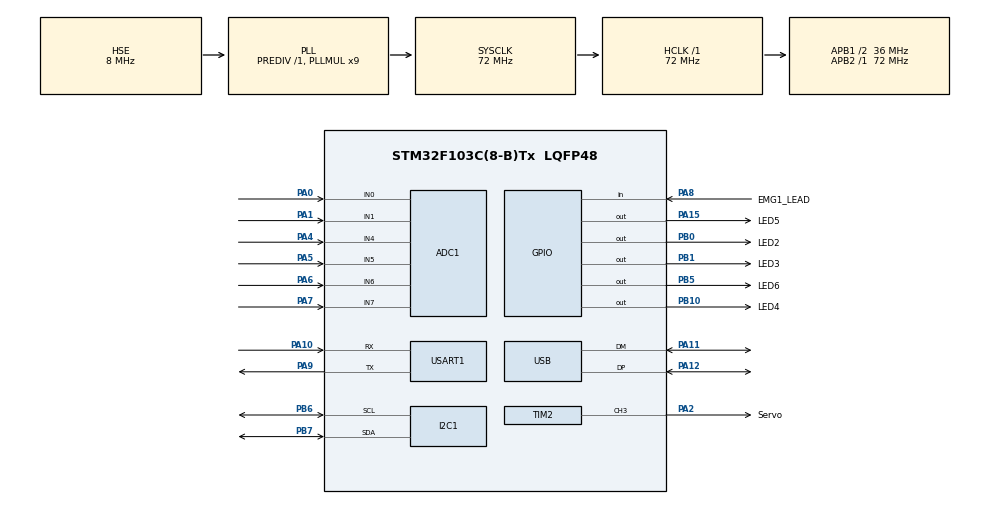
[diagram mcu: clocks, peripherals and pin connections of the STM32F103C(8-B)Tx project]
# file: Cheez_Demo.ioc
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ADC1.Channel-10\#ChannelRegularConversion=ADC_CHANNEL_7
ADC1.Channel-6\#ChannelRegularConversion=ADC_CHANNEL_1
ADC1.Channel-7\#ChannelRegularConversion=ADC_CHANNEL_4
ADC1.Channel-8\#ChannelRegularConversion=ADC_CHANNEL_5
ADC1.Channel-9\#ChannelRegularConversion=ADC_CHANNEL_6
ADC1.ContinuousConvMode=ENABLE
ADC1.ExternalTrigConv=ADC_EXTERNALTRIGCONV_T3_TRGO
ADC1.NbrOfConversion=6
ADC1.NbrOfConversionFlag=1
ADC1.Rank-10\#ChannelRegularConversion=6
ADC1.Rank-6\#ChannelRegularConversion=2
ADC1.Rank-7\#ChannelRegularConversion=3
ADC1.Rank-8\#ChannelRegularConversion=4
ADC1.Rank-9\#ChannelRegularConversion=5
ADC1.SamplingTime-10\#ChannelRegularConversion=ADC_SAMPLETIME_55CYCLES_5
ADC1.SamplingTime-6\#ChannelRegularConversion=ADC_SAMPLETIME_55CYCLES_5
ADC1.SamplingTime-7\#ChannelRegularConversion=ADC_SAMPLETIME_55CYCLES_5
ADC1.SamplingTime-8\#ChannelRegularConversion=ADC_SAMPLETIME_55CYCLES_5
ADC1.SamplingTime-9\#ChannelRegularConversion=ADC_SAMPLETIME_55CYCLES_5
ADC1.master=1
Dma.ADC1.0.Direction=DMA_PERIPH_TO_MEMORY
Dma.ADC1.0.Instance=DMA1_Channel1
Dma.ADC1.0.MemDataAlignment=DMA_MDATAALIGN_HALFWORD
Dma.ADC1.0.MemInc=DMA_MINC_ENABLE
Dma.ADC1.0.Mode=DMA_CIRCULAR
Dma.ADC1.0.PeriphDataAlignment=DMA_PDATAALIGN_HALFWORD
Dma.ADC1.0.PeriphInc=DMA_PINC_DISABLE
Dma.ADC1.0.Priority=DMA_PRIORITY_MEDIUM
Dma.Request0=ADC1
Mcu.Family=STM32F1
Mcu.Name=STM32F103C(8-B)Tx
Mcu.Package=LQFP48
NVIC.DMA1_Channel1_IRQn=true\:0\:0\:false\:false\:true\:false\:true\:true
NVIC.PriorityGroup=NVIC_PRIORITYGROUP_4
NVIC.TIM3_IRQn=true\:0\:0\:false\:false\:true\:true\:true\:true
NVIC.TIM4_IRQn=true\:0\:0\:false\:false\:true\:true\:true\:true
NVIC.USB_LP_CAN1_RX0_IRQn=true\:0\:0\:false\:false\:true\:false\:true\:true
PA0-WKUP.GPIO_Mode=GPIO_MODE_ANALOG
PA0-WKUP.Signal=ADCx_IN0
PA1.GPIO_Mode=GPIO_MODE_ANALOG
PA1.Signal=ADCx_IN1
PA10.Mode=Asynchronous
PA10.Signal=USART1_RX
PA11.Mode=Device
PA11.Signal=USB_DM
PA12.Mode=Device
PA12.Signal=USB_DP
PA13.Mode=Serial_Wire
PA13.Signal=SYS_JTMS-SWDIO
PA14.Mode=Serial_Wire
PA14.Signal=SYS_JTCK-SWCLK
PA15.GPIO_Label=LED5
PA15.PinState=GPIO_PIN_SET
PA15.Signal=GPIO_Output
PA2.GPIO_Label=Servo
PA2.Signal=S_TIM2_CH3
PA4.GPIO_Mode=GPIO_MODE_ANALOG
PA4.Signal=ADCx_IN4
PA5.GPIO_Mode=GPIO_MODE_ANALOG
PA5.Signal=ADCx_IN5
PA6.GPIO_Mode=GPIO_MODE_ANALOG
PA6.Signal=ADCx_IN6
PA7.GPIO_Mode=GPIO_MODE_ANALOG
PA7.Signal=ADCx_IN7
PA8.GPIO_Label=EMG1_LEAD
PA8.Signal=GPIO_Input
PA9.Mode=Asynchronous
PA9.Signal=USART1_TX
PB0.GPIO_Label=LED2
PB0.PinState=GPIO_PIN_SET
PB0.Signal=GPIO_Output
PB1.GPIO_Label=LED3
PB1.PinState=GPIO_PIN_SET
PB1.Signal=GPIO_Output
PB10.GPIO_Label=LED4
PB10.PinState=GPIO_PIN_SET
PB10.Signal=GPIO_Output
PB5.GPIO_Label=LED6
PB5.PinState=GPIO_PIN_SET
PB5.Signal=GPIO_Output
PB6.Mode=I2C
PB6.Signal=I2C1_SCL
PB7.Mode=I2C
PB7.Signal=I2C1_SDA
PD0-OSC_IN.Mode=HSE-External-Oscillator
PD0-OSC_IN.Signal=RCC_OSC_IN
PD1-OSC_OUT.Mode=HSE-External-Oscillator
PD1-OSC_OUT.Signal=RCC_OSC_OUT
ProjectManager.HeapSize=0x200
ProjectManager.StackSize=0x400
ProjectManager.TargetToolchain=MDK-ARM V5.32
RCC.ADCPresc=RCC_ADCPCLK2_DIV6
RCC.AHBFreq_Value=72000000
RCC.APB1CLKDivider=RCC_HCLK_DIV2
RCC.APB1Freq_Value=36000000
RCC.APB1TimFreq_Value=72000000
RCC.APB2Freq_Value=72000000
RCC.APB2TimFreq_Value=72000000
RCC.HCLKFreq_Value=72000000
RCC.PLLMUL=RCC_PLL_MUL9
RCC.SYSCLKFreq_VALUE=72000000
RCC.SYSCLKSource=RCC_SYSCLKSOURCE_PLLCLK
RCC.USBFreq_Value=48000000
RCC.USBPrescaler=RCC_USBCLKSOURCE_PLL_DIV1_5
SH.ADCx_IN0.0=ADC1_IN0,IN0
SH.ADCx_IN1.0=ADC1_IN1,IN1
SH.ADCx_IN4.0=ADC1_IN4,IN4
SH.ADCx_IN5.0=ADC1_IN5,IN5
SH.ADCx_IN6.0=ADC1_IN6,IN6
SH.ADCx_IN7.0=ADC1_IN7,IN7
SH.S_TIM2_CH3.0=TIM2_CH3,PWM Generation3 CH3
TIM2.AutoReloadPreload=TIM_AUTORELOAD_PRELOAD_ENABLE
TIM2.Channel-PWM\ Generation3\ CH3=TIM_CHANNEL_3
TIM2.OCPolarity_3=TIM_OCPOLARITY_HIGH
TIM2.Period=1999-1
TIM2.Prescaler=720-1
TIM2.TIM_MasterOutputTrigger=TIM_TRGO_RESET
TIM3.Period=144-1
TIM3.Prescaler=1000-1
TIM3.TIM_MasterOutputTrigger=TIM_TRGO_UPDATE
TIM4.Period=144-1
TIM4.Prescaler=1000-1
USART1.VirtualMode=VM_ASYNC
USB_DEVICE.CLASS_NAME_FS=CDC
USB_DEVICE.VirtualMode=Cdc
USB_DEVICE.VirtualModeFS=Cdc_FS
VP_TIM2_VS_ClockSourceINT.Mode=Internal
VP_TIM3_VS_ClockSourceINT.Mode=Internal
VP_TIM4_VS_ClockSourceINT.Mode=Internal
VP_USB_DEVICE_VS_USB_DEVICE_CDC_FS.Mode=CDC_FS
board=custom

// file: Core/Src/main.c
/* USER CODE BEGIN Header */
/**
  ******************************************************************************
  * @file           : main.c
  * @brief          : Main program body
  ******************************************************************************
  * @attention
  *
  * Copyright (c) 2024 STMicroelectronics.
  * All rights reserved.
  *
  * This software is licensed under terms that can be found in the LICENSE file
  * in the root directory of this software component.
  * If no LICENSE file comes with this software, it is provided AS-IS.
  *
  ******************************************************************************
  */
/* USER CODE END Header */
#include "main.h"
#include "adc.h"
#include "dma.h"
#include "i2c.h"
#include "tim.h"
#include "usart.h"
#include "usb_device.h"
#include "gpio.h"

/* USER CODE BEGIN Includes */
#include "math.h"
#include "debug.h"
#include "usbd_cdc_if.h"

/* USER CODE END Includes */

/* USER CODE BEGIN PD */

#define ServoH 50 // 阈值
#define ServoL 2

/* USER CODE END PD */

/* USER CODE BEGIN PV */

#define ADC_CHANNELS 6
uint32_t dmaBuffer[ADC_CHANNELS];

uint32_t lastServoMove;
uint8_t tickFlag=0,level;
int EmgEnvelop,lastEmgEnvelop, filterEmgEnvelop;
/* USER CODE END PV */

void SystemClock_Config(void);
/* USER CODE BEGIN PFP */

float Filter(float input);
int getEnvelop(int abs_emg);
int emgLevel(int emgval) ;
void SetServoAngle(int16_t angle);
/* USER CODE END PFP */

int main(void)
{

  /* MCU Configuration--------------------------------------------------------*/

  /* Reset of all peripherals, Initializes the Flash interface and the Systick. */
  HAL_Init();

  /* Configure the system clock */
  SystemClock_Config();

  /* Initialize all configured peripherals */
  MX_GPIO_Init();
  MX_DMA_Init();
  MX_ADC1_Init();
  MX_TIM3_Init();
  MX_I2C1_Init();
  MX_TIM2_Init();
  MX_TIM4_Init();
  MX_USART1_UART_Init();
  MX_USB_DEVICE_Init();
  /* USER CODE BEGIN 2 */

	printf("HelloCheez\r\n");
	HAL_ADCEx_Calibration_Start(&hadc1);
  HAL_ADC_Start_DMA(&hadc1, dmaBuffer, ADC_CHANNELS);
  HAL_TIM_Base_Start_IT(&htim3);
	HAL_TIM_Base_Start_IT(&htim4);

	HAL_TIM_PWM_Start(&htim2,TIM_CHANNEL_3);
  /* USER CODE END 2 */

  /* Infinite loop */
  /* USER CODE BEGIN WHILE */
  while (1)
  {
		 if(tickFlag)
		 {
			tickFlag=0;

			uint16_t A0 = dmaBuffer[0];
			float EMGSignal =	Filter((float)A0);
			EmgEnvelop = getEnvelop(fabs(EMGSignal));

			char dat[60];
			uint32_t	len = sprintf(dat, "%d,%d,%d\r\n",A0,(int16_t)EMGSignal,EmgEnvelop);
			CDC_Transmit_FS((uint8_t*)dat,len);												// 使用USB虚拟串口
			HAL_UART_Transmit(&huart1, (uint8_t*)dat,len, 1000);			// 使用CH340串口

		 }

		  if (HAL_GetTick() - lastServoMove > 20)
			{
				lastServoMove = HAL_GetTick();
				if(HAL_GPIO_ReadPin(EMG1_LEAD_GPIO_Port,EMG1_LEAD_Pin))
				{
					filterEmgEnvelop = 0.8 * lastEmgEnvelop + 0.2 * EmgEnvelop;
					lastEmgEnvelop = filterEmgEnvelop;
					SetServoAngle(filterEmgEnvelop);
				}
			}

    /* USER CODE END WHILE */

  }
}

void SystemClock_Config(void)
{
  RCC_OscInitTypeDef RCC_OscInitStruct = {0};
  RCC_ClkInitTypeDef RCC_ClkInitStruct = {0};
  RCC_PeriphCLKInitTypeDef PeriphClkInit = {0};

  /** Initializes the RCC Oscillators according to the specified parameters
  * in the RCC_OscInitTypeDef structure.
  */
  RCC_OscInitStruct.OscillatorType = RCC_OSCILLATORTYPE_HSE;
  RCC_OscInitStruct.HSEState = RCC_HSE_ON;
  RCC_OscInitStruct.HSEPredivValue = RCC_HSE_PREDIV_DIV1;
  RCC_OscInitStruct.HSIState = RCC_HSI_ON;
  RCC_OscInitStruct.PLL.PLLState = RCC_PLL_ON;
  RCC_OscInitStruct.PLL.PLLSource = RCC_PLLSOURCE_HSE;
  RCC_OscInitStruct.PLL.PLLMUL = RCC_PLL_MUL9;
  if (HAL_RCC_OscConfig(&RCC_OscInitStruct) != HAL_OK)
  {
    Error_Handler();
  }

  /** Initializes the CPU, AHB and APB buses clocks
  */
  RCC_ClkInitStruct.ClockType = RCC_CLOCKTYPE_HCLK|RCC_CLOCKTYPE_SYSCLK
                              |RCC_CLOCKTYPE_PCLK1|RCC_CLOCKTYPE_PCLK2;
  RCC_ClkInitStruct.SYSCLKSource = RCC_SYSCLKSOURCE_PLLCLK;
  RCC_ClkInitStruct.AHBCLKDivider = RCC_SYSCLK_DIV1;
  RCC_ClkInitStruct.APB1CLKDivider = RCC_HCLK_DIV2;
  RCC_ClkInitStruct.APB2CLKDivider = RCC_HCLK_DIV1;

  if (HAL_RCC_ClockConfig(&RCC_ClkInitStruct, FLASH_LATENCY_2) != HAL_OK)
  {
    Error_Handler();
  }
  PeriphClkInit.PeriphClockSelection = RCC_PERIPHCLK_ADC|RCC_PERIPHCLK_USB;
  PeriphClkInit.AdcClockSelection = RCC_ADCPCLK2_DIV6;
  PeriphClkInit.UsbClockSelection = RCC_USBCLKSOURCE_PLL_DIV1_5;
  if (HAL_RCCEx_PeriphCLKConfig(&PeriphClkInit) != HAL_OK)
  {
    Error_Handler();
  }
}

/* USER CODE BEGIN 4 */
void HAL_TIM_PeriodElapsedCallback(TIM_HandleTypeDef *htim)
{
  if (htim->Instance == TIM3)tickFlag =1;
}

int getEnvelop(int abs_emg) {
	// 窗口
	#define BUFFER_SIZE 128           			 // 窗口大小
	static int circular_buffer[BUFFER_SIZE]; // 环形数组
	static int data_index, sum;              // 数据索引

  sum -= circular_buffer[data_index];
  sum += abs_emg;
  circular_buffer[data_index] = abs_emg;
  data_index = (data_index + 1) % BUFFER_SIZE;
  return (sum / BUFFER_SIZE) * 2;
}

void SetServoAngle(int16_t angle) {
    if (angle<0||angle > 180) return;

    uint32_t compareValue = 50 + (angle * 200 / 180);
    __HAL_TIM_SET_COMPARE(&htim2,TIM_CHANNEL_3,compareValue);
}

/**************************** 滤波 由软件生成 ************************************/
// >>> Butterworth IIR Digital Filter: bandpass
// 	Sampling Rate:500.0 Hz ,Frequency:[70.0, 110.0] Hz
// 	Order: 4.0 ,implemented as second-order sections (biquads)
float Filter(float input) {
  float output = input;
  {
    static float z1, z2; // filter section state
    float x = output - (-0.55195385 * z1) - (0.60461714 * z2);
    output = 0.00223489 * x + (0.00446978 * z1) + (0.00223489 * z2);
    z2 = z1;
    z1 = x;
  }

  {
    static float z1, z2; // filter section state
    float x = output - (-0.86036562 * z1) - (0.63511954 * z2);
    output = 1.00000000 * x + (2.00000000 * z1) + (1.00000000 * z2);
    z2 = z1;
    z1 = x;
  }

  {
    static float z1, z2; // filter section state
    float x = output - (-0.37367240 * z1) - (0.81248708 * z2);
    output = 1.00000000 * x + (-2.00000000 * z1) + (1.00000000 * z2);
    z2 = z1;
    z1 = x;
  }

  {
    static float z1, z2; // filter section state
    float x = output - (-1.15601175 * z1) - (0.84761589 * z2);
    output = 1.00000000 * x + (-2.00000000 * z1) + (1.00000000 * z2);
    z2 = z1;
    z1 = x;
  }

  return output;
}

/* USER CODE END 4 */

void Error_Handler(void)
{
  __disable_irq();
  while (1)
  {
  }
}
